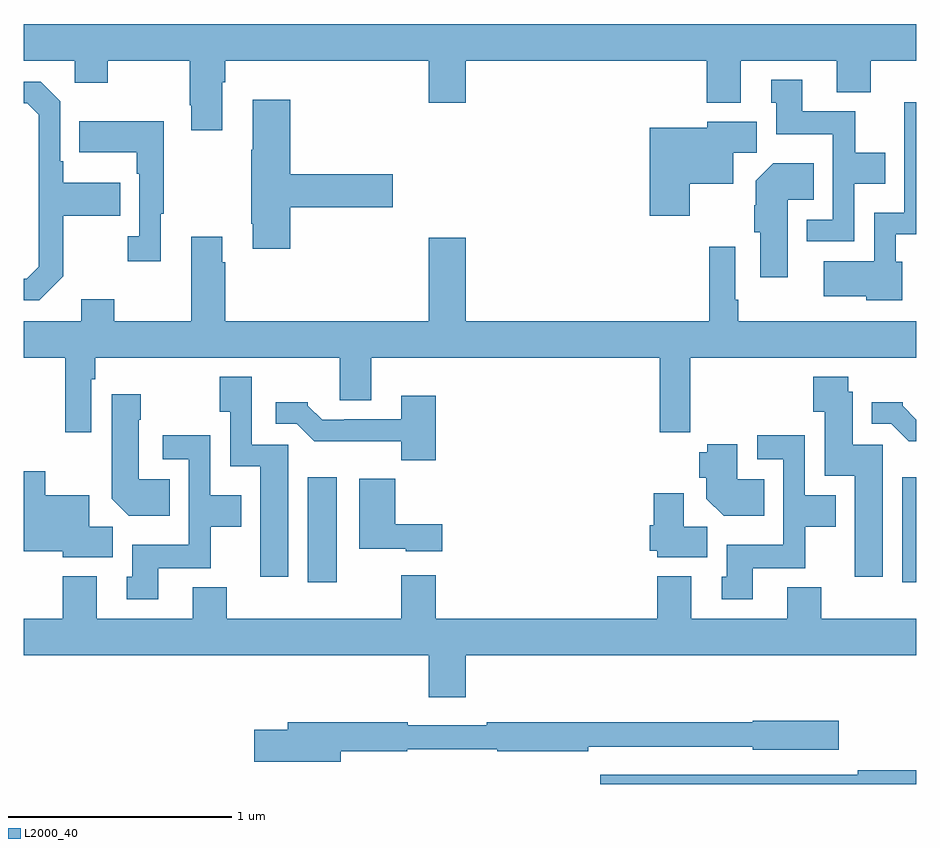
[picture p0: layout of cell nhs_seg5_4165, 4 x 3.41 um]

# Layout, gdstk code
import gdstk
lib = gdstk.Library(unit=1e-6, precision=1e-09)
def R(c, l, rs):  # rectangles x0, y0, x1, y1
    for r in rs: c.add(gdstk.rectangle(r[:2], r[2:], *l))
def P(c, l, *ps):  # polygons
    for p in ps: c.add(gdstk.Polygon(p, *l))
L2000_40 = (2000, 40)

nhs_seg5_4165 = lib.new_cell('nhs_seg5_4165')
R(nhs_seg5_4165, L2000_40, [(356.273,907.704,356.404,908.173), (358.937,907.704,359,908.173)])
P(nhs_seg5_4165, L2000_40, [(355.891,909.944),(355.904,909.944),(355.904,910.04),(356.816,910.04),(356.816,909.852),(356.98,909.852),(356.98,910.04),(358.061,910.04),(358.061,909.851),(358.213,909.851),(358.213,910.04),(358.643,910.04),(358.643,909.899),(358.796,909.899),(358.796,910.04),(359,910.04),(359,910.204),(355,910.204),(355,910.04),(355.23,910.04),(355.23,909.941),(355.377,909.941),(355.377,910.04),(355.744,910.04),(355.744,909.841),(355.751,909.841),(355.751,909.729),(355.891,909.729)],
  [(358.722,909.488),(358.861,909.488),(358.861,909.628),(358.725,909.628),(358.725,909.814),(358.489,909.814),(358.489,909.955),(358.349,909.955),(358.349,909.852),(358.373,909.852),(358.373,909.71),(358.626,909.71),(358.626,909.327),(358.509,909.327),(358.509,909.231),(358.722,909.231)],
  [(355.177,909.073),(355.177,909.346),(355.433,909.346),(355.433,909.493),(355.177,909.493),(355.177,909.589),(355.164,909.589),(355.164,909.858),(355.077,909.945),(355,909.945),(355,909.849),(355.017,909.849),(355.068,909.798),(355.068,909.117),(355.014,909.063),(355,909.063),(355,908.967),(355.071,908.967)],
  [(356.195,909.383),(356.653,909.383),(356.653,909.53),(356.195,909.53),(356.195,909.865),(356.027,909.865),(356.027,909.641),(356.02,909.641),(356.02,909.31),(356.027,909.31),(356.027,909.198),(356.195,909.198)],
  [(358.936,909.138),(358.908,909.138),(358.908,909.261),(359,909.261),(359,909.853),(358.946,909.853),(358.946,909.358),(358.812,909.358),(358.812,909.142),(358.584,909.142),(358.584,908.984),(358.776,908.984),(358.776,908.966),(358.936,908.966)],
  [(355.615,909.353),(355.627,909.353),(355.627,909.769),(355.249,909.769),(355.249,909.629),(355.506,909.629),(355.506,909.533),(355.518,909.533),(355.518,909.254),(355.467,909.254),(355.467,909.141),(355.615,909.141)],
  [(357.984,909.488),(358.18,909.488),(358.18,909.628),(358.285,909.628),(358.285,909.766),(358.062,909.766),(358.062,909.739),(357.806,909.739),(357.806,909.345),(357.984,909.345)],
  [(358.423,909.416),(358.541,909.416),(358.541,909.58),(358.358,909.58),(358.28,909.502),(358.28,909.392),(358.273,909.392),(358.273,909.27),(358.301,909.27),(358.301,909.069),(358.423,909.069)],
  [(355.302,908.612),(355.322,908.612),(355.322,908.708),(356.417,908.708),(356.417,908.518),(356.557,908.518),(356.557,908.708),(357.85,908.708),(357.85,908.376),(357.986,908.376),(357.986,908.708),(359,908.708),(359,908.872),(358.201,908.872),(358.201,908.968),(358.188,908.968),(358.188,909.205),(358.072,909.205),(358.072,908.872),(356.98,908.872),(356.98,909.247),(356.816,909.247),(356.816,908.872),(355.904,908.872),(355.904,909.137),(355.891,909.137),(355.891,909.25),(355.751,909.25),(355.751,908.872),(355.407,908.872),(355.407,908.971),(355.259,908.971),(355.259,908.872),(355,908.872),(355,908.708),(355.186,908.708),(355.186,908.376),(355.302,908.376)],
  [(358.849,908.319),(358.714,908.319),(358.714,908.556),(358.695,908.556),(358.695,908.623),(358.538,908.623),(358.538,908.467),(358.589,908.467),(358.589,908.18),(358.724,908.18),(358.724,907.728),(358.849,907.728)],
  [(356.185,908.319),(356.022,908.319),(356.022,908.623),(355.879,908.623),(355.879,908.467),(355.926,908.467),(355.926,908.222),(356.06,908.222),(356.06,907.728),(356.185,907.728)],
  [(355.655,908.164),(355.516,908.164),(355.516,908.432),(355.524,908.432),(355.524,908.545),(355.394,908.545),(355.394,908.078),(355.472,908),(355.655,908)],
  [(356.846,908.539),(356.693,908.539),(356.693,908.433),(356.437,908.433),(356.437,908.43),(356.338,908.43),(356.274,908.494),(356.274,908.509),(356.13,908.509),(356.13,908.412),(356.223,908.412),(356.302,908.334),(356.691,908.334),(356.691,908.249),(356.846,908.249)],
  [(359,908.432),(358.938,908.494),(358.938,908.509),(358.799,908.509),(358.799,908.412),(358.887,908.412),(358.966,908.334),(359,908.334)],
  [(355.603,907.766),(355.839,907.766),(355.839,907.952),(355.975,907.952),(355.975,908.092),(355.836,908.092),(355.836,908.362),(355.623,908.362),(355.623,908.253),(355.74,908.253),(355.74,907.87),(355.487,907.87),(355.487,907.728),(355.463,907.728),(355.463,907.626),(355.603,907.626)],
  [(358.267,907.766),(358.503,907.766),(358.503,907.952),(358.639,907.952),(358.639,908.092),(358.5,908.092),(358.5,908.362),(358.287,908.362),(358.287,908.253),(358.404,908.253),(358.404,907.87),(358.151,907.87),(358.151,907.728),(358.127,907.728),(358.127,907.626),(358.267,907.626)],
  [(358.319,908.164),(358.198,908.164),(358.198,908.322),(358.062,908.322),(358.062,908.286),(358.028,908.286),(358.028,908.172),(358.058,908.172),(358.058,908.078),(358.136,908),(358.319,908)],
  [(355.399,907.952),(355.294,907.952),(355.294,908.092),(355.098,908.092),(355.098,908.2),(355,908.2),(355,907.841),(355.176,907.841),(355.176,907.814),(355.399,907.814)],
  [(356.875,907.963),(356.666,907.963),(356.666,908.167),(356.504,908.167),(356.504,907.853),(356.712,907.853),(356.712,907.841),(356.875,907.841)],
  [(358.063,907.952),(357.958,907.952),(357.958,908.101),(357.824,908.101),(357.824,907.959),(357.806,907.959),(357.806,907.845),(357.84,907.845),(357.84,907.814),(358.063,907.814)],
  [(356.98,907.376),(359,907.376),(359,907.54),(358.574,907.54),(358.574,907.681),(358.421,907.681),(358.421,907.54),(357.991,907.54),(357.991,907.729),(357.839,907.729),(357.839,907.54),(356.846,907.54),(356.846,907.735),(356.693,907.735),(356.693,907.54),(355.91,907.54),(355.91,907.681),(355.757,907.681),(355.757,907.54),(355.327,907.54),(355.327,907.729),(355.175,907.729),(355.175,907.54),(355,907.54),(355,907.376),(356.816,907.376),(356.816,907.188),(356.98,907.188)],
  [(356.422,906.946),(356.718,906.946),(356.718,906.954),(357.122,906.954),(357.122,906.946),(357.53,906.946),(357.53,906.966),(358.266,906.966),(358.266,906.953),(358.651,906.953),(358.651,907.083),(358.266,907.083),(358.266,907.075),(357.076,907.075),(357.076,907.062),(356.72,907.062),(356.72,907.075),(356.183,907.075),(356.183,907.041),(356.034,907.041),(356.034,906.899),(356.422,906.899)],
  [(359,906.86),(358.738,906.86),(358.738,906.84),(357.584,906.84),(357.584,906.799),(359,906.799)])

lib.write_gds('nhs_seg5_4165.gds')
